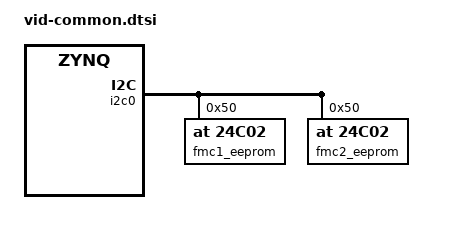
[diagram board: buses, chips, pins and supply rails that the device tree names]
#include "zynq-mw-vid-common.dtsi"

&hdmitx{
    mwgen,vidinjust = "right";
	mwgen,vidinformat = "4:2:2,separate";
};

&adv7511 {
	compatible = "mwadi,mwadv7511";
	reg = <0x39>;

	adi,input-id = <0x00>;
	adi,input-style = <0x01>;
	adi,bit-justification = <0x01>;
	adi,input-color-depth = <0x3>;
	adi,sync-pulse = <0x03>;
	adi,up-conversion = <0x00>;
	adi,timing-generation-sequence = <0x00>;
	adi,vsync-polarity = <0x02>;
	adi,hsync-polarity = <0x02>;
	adi,tdms-clock-inversion;
	adi,clock-delay = <0x03>;
};

&i2c0{
	status = "okay";
	
	i2cswitch@74 {

		i2c@5 {
			#address-cells = <1>;
			#size-cells = <0>;
			reg = <5>;
			fmc1_eeprom: eeprom@50 {
				compatible = "at,24c02";
				reg = <0x50>;
			};
		};

		i2c@6 {
			#address-cells = <1>;
			#size-cells = <0>;
			reg = <6>;
			fmc2_eeprom: eeprom@50 {
				compatible = "at,24c02";
				reg = <0x50>;
			};
		};
	};
};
